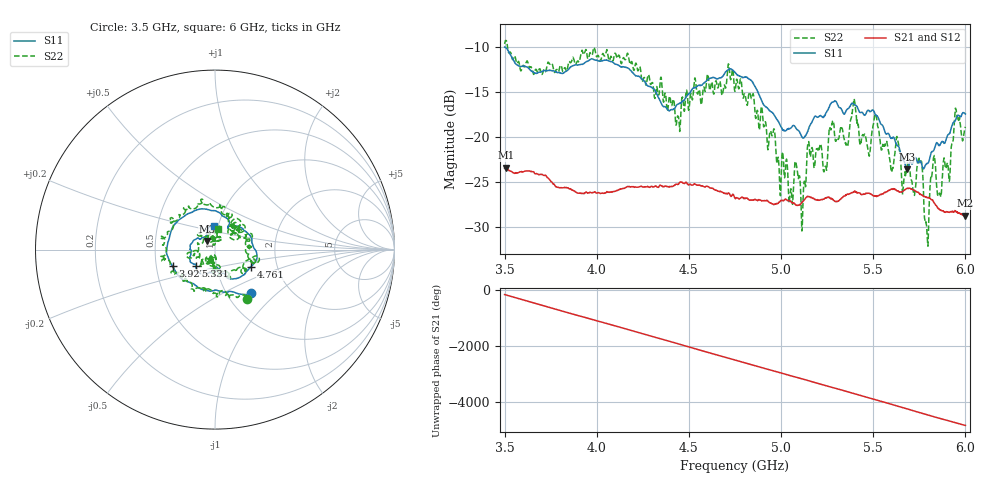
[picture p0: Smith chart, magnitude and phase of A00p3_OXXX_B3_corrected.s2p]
! Created with skrf 1.9.0 (http://scikit-rf.org).
# Hz S RI R 50.0
!freq ReS11 ImS11 ReS21 ImS21 ReS12 ImS12 ReS22 ImS22
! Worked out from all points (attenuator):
!   1601 points, 3.5 GHz to 6 GHz, reference 50 ohm
!   highest |S21| = -23.41 dB at 3.508 GHz (marker M1); lowest = -28.7 dB at 5.997 GHz (marker M2)
!   lowest |S11| = -23.6 dB at 5.683 GHz (marker M3), VSWR 1.14, Z = 45.5 + j4.39 ohm
!   |S11| at or under -10 dB: start of sweep to end of sweep
!   |S22| runs from -32.1 to -9.3 dB; largest |S21 - S12| = 0.00083
!   S11 on the Smith chart (normalised r, x): 3.5 GHz: 1.29, -0.70; 3.927 GHz: 0.61, -0.12; 4.761 GHz: 1.46, -0.29; 5.331 GHz: 0.80, -0.15; 6 GHz: 0.96, +0.26
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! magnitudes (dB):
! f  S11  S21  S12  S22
! 3.5 GHz  -10.0  -23.5  -23.5  -9.7
! 3.508 GHz  -10.1  -23.4  -23.4  -9.3
! 3.917 GHz  -12.0  -26.3  -26.3  -10.6
! 3.927 GHz  -11.9  -26.3  -26.3  -10.8
! 4.334 GHz  -15.6  -25.6  -25.5  -15.3
! 4.441 GHz  -16.4  -25.3  -25.2  -17.7
! 4.75 GHz  -12.9  -26.8  -26.8  -15.0
! 4.761 GHz  -13.1  -26.7  -26.8  -13.7
! 5.053 GHz  -19.0  -27.2  -27.2  -25.8
! 5.12 GHz  -20.1  -27.1  -27.0  -26.4
! 5.167 GHz  -18.4  -26.7  -26.7  -21.2
! 5.331 GHz  -17.1  -26.7  -26.7  -19.0
! 5.395 GHz  -16.4  -26.1  -26.1  -15.8
! 5.584 GHz  -19.7  -25.9  -25.9  -21.7
! 5.683 GHz  -23.6  -25.7  -25.7  -23.5
! 5.756 GHz  -22.7  -26.3  -26.3  -22.9
! 5.789 GHz  -23.0  -26.7  -26.6  -29.8
! 5.825 GHz  -21.6  -27.1  -27.1  -22.6
! 5.859 GHz  -20.9  -28.1  -28.0  -26.2
! 5.95 GHz  -18.0  -28.3  -28.3  -17.0
! 5.997 GHz  -17.4  -28.7  -28.6  -19.1
! 6 GHz  -17.5  -28.7  -28.6  -18.9
